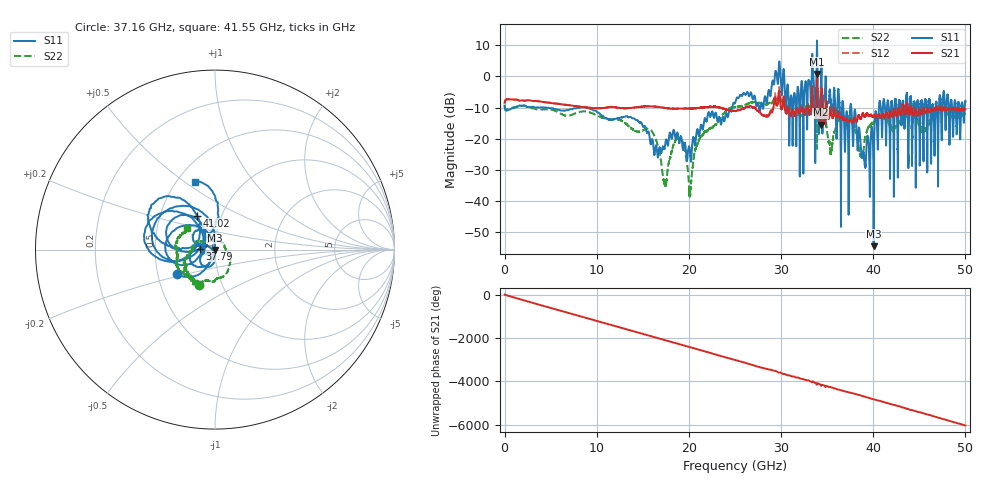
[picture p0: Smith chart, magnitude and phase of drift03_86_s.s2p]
!Created with skrf (http://scikit-rf.org).
# Hz S RI R 50.0
!freq ReS11 ImS11 ReS21 ImS21 ReS12 ImS12 ReS22 ImS22
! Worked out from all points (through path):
!   10001 points, 300 kHz to 50 GHz, reference 50 ohm
!   highest |S21| = 0.84 dB at 33.9 GHz (marker M1); lowest = -15.5 dB at 34.32 GHz (marker M2)
!   group delay of S21, straight-line fit = 335 ps
!   lowest |S11| = -54.5 dB at 40.05 GHz (marker M3), VSWR 1.00, Z = 49.9 - j0.151 ohm
!   |S11| at or under -10 dB: 4.471 GHz to 7.932 GHz (3.461 GHz wide, 55.8 % of centre); 9.022 GHz to 24.7 GHz (15.68 GHz wide, 93 % of centre); 37.62 GHz to 40.62 GHz (2.999 GHz wide, 7.67 % of centre) (the widest 3 of 55)
!   |S22| runs from -38.6 to -5.9 dB; largest |S21 - S12| = 0.11
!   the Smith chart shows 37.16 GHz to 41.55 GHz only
!   S11 on the Smith chart (normalised r, x): 37.16 GHz: 0.63, -0.18; 37.79 GHz: 0.85, +0.01; 41.02 GHz: 0.76, +0.30; 41.55 GHz: 0.61, +0.55
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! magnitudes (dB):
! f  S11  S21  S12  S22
! 300 kHz  -9.4  -8.5  -8.4  -9.3
! 8.335 GHz  -9.9  -9.8  -9.8  -11.3
! 16.67 GHz  -25.4  -9.8  -9.8  -22.9
! 17.41 GHz  -22.3  -10.1  -10.1  -34.8
! 19.09 GHz  -19.5  -10.3  -10.3  -20.2
! 20.14 GHz  -25.2  -10.3  -10.3  -37.9
! 21.22 GHz  -17.1  -10.1  -10.1  -19.7
! 25 GHz  -8.5  -11.1  -11.1  -9.9
! 29.66 GHz  -2.3  -8.3  -8.4  -7.1
! 31.08 GHz  -6.1  -12.6  -12.7  -10.5
! 33.34 GHz  0.4  -7.4  -7.5  -9.3
! 33.9 GHz  11.6  0.8  0.4  -23.3
! 34.32 GHz  -2.9  -15.5  -14.9  -11.2
! 35.36 GHz  -7.2  -10.8  -10.4  -24.8
! 37.16 GHz  -12.0  -14.1  -14.1  -13.2
! 37.79 GHz  -21.6  -14.7  -14.6  -14.4
! 38.71 GHz  -24.9  -13.4  -13.2  -25.3
! 40.05 GHz  -54.5  -12.7  -12.8  -15.1
! 41.02 GHz  -13.4  -12.1  -12.0  -13.2
! 41.55 GHz  -8.1  -12.4  -12.3  -14.2
! 41.67 GHz  -9.5  -13.3  -13.1  -14.3
! 50 GHz  -8.0  -10.6  -10.5  -12.1
